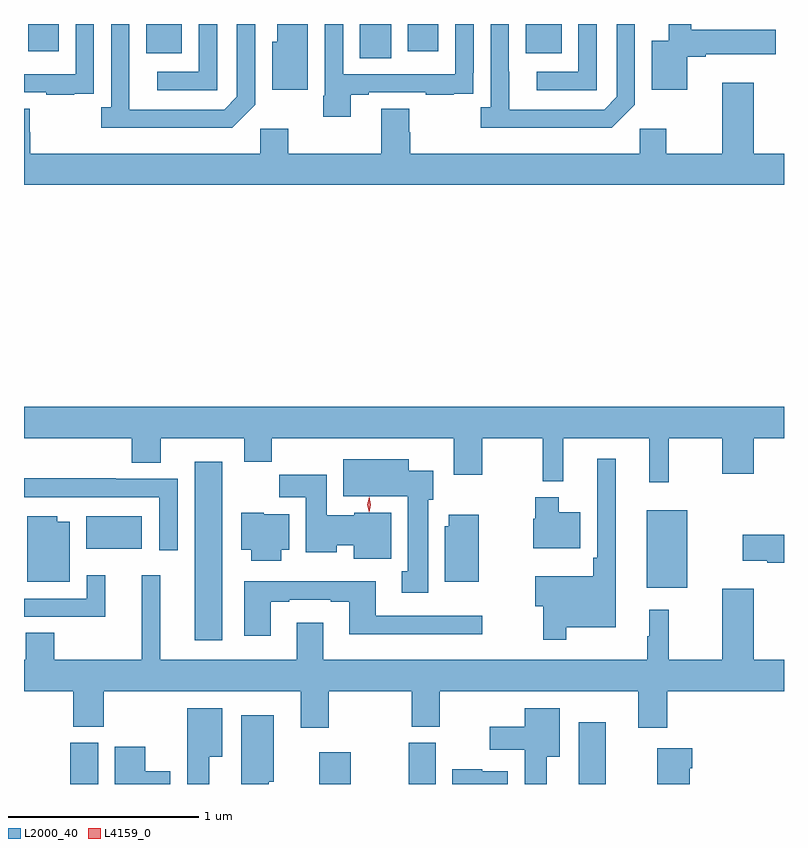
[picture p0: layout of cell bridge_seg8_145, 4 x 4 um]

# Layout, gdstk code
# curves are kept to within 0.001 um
import gdstk
lib = gdstk.Library(unit=1e-6, precision=1e-09)
def R(c, l, rs):  # rectangles x0, y0, x1, y1
    for r in rs: c.add(gdstk.rectangle(r[:2], r[2:], *l))
def P(c, l, *ps):  # polygons
    for p in ps: c.add(gdstk.Polygon(p, *l))
L2000_40 = (2000, 40)
L4159_0 = (4159, 0)

bridge_seg8_145 = lib.new_cell('bridge_seg8_145')
R(bridge_seg8_145, L2000_40, [(521.216,1147.979,521.362,1148.196), (522.527,1147.979,522.693,1148.146), (522.996,1147.979,523.138,1148.196), (523.892,1147.979,524.035,1148.305), (521.87,1148.736,522.016,1149.676), (524.249,1149.011,524.464,1149.421), (521.3,1149.218,521.593,1149.388), (522.74,1151.8,522.904,1151.979), (521.615,1151.825,521.803,1151.979), (523.613,1151.825,523.801,1151.979), (520.994,1151.835,521.155,1151.979), (522.992,1151.835,523.153,1151.979)])
P(bridge_seg8_145, L2000_40, [(522.691,1151.607),(522.787,1151.607),(522.787,1151.619),(523.087,1151.619),(523.087,1151.607),(523.235,1151.607),(523.235,1151.613),(523.337,1151.613),(523.337,1151.722),(523.338,1151.722),(523.338,1151.977),(523.242,1151.977),(523.242,1151.715),(522.651,1151.715),(522.651,1151.979),(522.555,1151.979),(522.555,1151.602),(522.547,1151.602),(522.547,1151.49),(522.691,1151.49)],
  [(522.189,1151.553),(522.189,1151.979),(522.093,1151.979),(522.093,1151.595),(522.027,1151.529),(521.527,1151.529),(521.526,1151.979),(521.43,1151.979),(521.43,1151.542),(521.379,1151.542),(521.379,1151.432),(522.068,1151.432)],
  [(522.466,1151.979),(522.305,1151.979),(522.305,1151.886),(522.278,1151.886),(522.278,1151.633),(522.466,1151.633)],
  [(523.986,1151.979),(523.89,1151.979),(523.89,1151.727),(523.671,1151.727),(523.671,1151.631),(523.986,1151.631)],
  [(521.988,1151.979),(521.892,1151.979),(521.892,1151.727),(521.673,1151.727),(521.673,1151.631),(521.988,1151.631)],
  [(524.187,1151.553),(524.187,1151.979),(524.091,1151.979),(524.091,1151.595),(524.025,1151.529),(523.525,1151.529),(523.524,1151.979),(523.428,1151.979),(523.428,1151.542),(523.377,1151.542),(523.377,1151.432),(524.066,1151.432)],
  [(524.464,1151.807),(524.56,1151.807),(524.56,1151.819),(524.929,1151.819),(524.929,1151.949),(524.483,1151.949),(524.483,1151.979),(524.366,1151.979),(524.366,1151.89),(524.276,1151.89),(524.276,1151.633),(524.464,1151.633)],
  [(521.237,1151.613),(521.339,1151.613),(521.339,1151.722),(521.34,1151.722),(521.34,1151.977),(521.244,1151.977),(521.244,1151.715),(520.972,1151.715),(520.972,1151.619),(521.089,1151.619),(521.089,1151.607),(521.237,1151.607)],
  [(524.972,1151.296),(524.812,1151.296),(524.812,1151.671),(524.648,1151.671),(524.648,1151.296),(524.353,1151.296),(524.353,1151.428),(524.214,1151.428),(524.214,1151.296),(523.004,1151.296),(523.004,1151.409),(522.999,1151.409),(522.999,1151.534),(522.851,1151.534),(522.851,1151.296),(522.363,1151.296),(522.363,1151.428),(522.216,1151.428),(522.216,1151.296),(521.006,1151.296),(521.006,1151.409),(521.001,1151.409),(521.001,1151.534),(520.972,1151.534),(520.972,1151.132),(524.972,1151.132)],
  [(524.366,1149.8),(524.648,1149.8),(524.648,1149.612),(524.812,1149.612),(524.812,1149.8),(524.972,1149.8),(524.972,1149.964),(520.972,1149.964),(520.972,1149.8),(521.54,1149.8),(521.54,1149.67),(521.692,1149.67),(521.692,1149.8),(522.131,1149.8),(522.131,1149.676),(522.275,1149.676),(522.275,1149.8),(523.235,1149.8),(523.235,1149.606),(523.383,1149.606),(523.383,1149.8),(523.701,1149.8),(523.701,1149.572),(523.811,1149.572),(523.811,1149.8),(524.264,1149.8),(524.264,1149.567),(524.366,1149.567)],
  [(523.825,1148.804),(524.086,1148.804),(524.086,1149.691),(523.989,1149.691),(523.989,1149.169),(523.969,1149.169),(523.969,1149.073),(523.662,1149.073),(523.662,1148.915),(523.704,1148.915),(523.704,1148.739),(523.825,1148.739)],
  [(523.099,1149.474),(523.126,1149.474),(523.126,1149.628),(522.997,1149.628),(522.997,1149.688),(522.653,1149.688),(522.653,1149.494),(522.992,1149.494),(522.992,1149.098),(522.959,1149.098),(522.959,1148.985),(523.099,1148.985)],
  [(522.904,1149.406),(522.711,1149.406),(522.711,1149.394),(522.565,1149.394),(522.565,1149.606),(522.316,1149.606),(522.316,1149.488),(522.455,1149.488),(522.455,1149.2),(522.619,1149.2),(522.619,1149.236),(522.707,1149.236),(522.707,1149.164),(522.904,1149.164)],
  [(521.781,1149.585),(521.456,1149.585),(521.456,1149.587),(520.972,1149.587),(520.972,1149.489),(521.685,1149.489),(521.685,1149.21),(521.781,1149.21)],
  [(523.9,1149.409),(523.786,1149.409),(523.786,1149.487),(523.664,1149.487),(523.664,1149.375),(523.652,1149.375),(523.652,1149.221),(523.9,1149.221)],
  [(522.325,1149.212),(522.367,1149.212),(522.367,1149.4),(522.234,1149.4),(522.234,1149.406),(522.116,1149.406),(522.116,1149.212),(522.167,1149.212),(522.167,1149.155),(522.325,1149.155)],
  [(523.366,1149.397),(523.208,1149.397),(523.208,1149.336),(523.187,1149.336),(523.187,1149.044),(523.366,1149.044)],
  [(521.212,1149.358),(521.146,1149.358),(521.146,1149.388),(520.988,1149.388),(520.988,1149.044),(521.212,1149.044)],
  [(524.972,1149.29),(524.754,1149.29),(524.754,1149.155),(524.883,1149.155),(524.883,1149.143),(524.972,1149.143)],
  [(522.576,1148.468),(523.012,1148.468),(523.012,1148.281),(523.159,1148.281),(523.159,1148.468),(524.204,1148.468),(524.204,1148.274),(524.357,1148.274),(524.357,1148.468),(524.972,1148.468),(524.972,1148.632),(524.812,1148.632),(524.812,1149.007),(524.648,1149.007),(524.648,1148.632),(524.366,1148.632),(524.366,1148.896),(524.264,1148.896),(524.264,1148.756),(524.253,1148.756),(524.253,1148.632),(522.547,1148.632),(522.547,1148.827),(522.407,1148.827),(522.407,1148.632),(521.69,1148.632),(521.69,1149.079),(521.591,1149.079),(521.591,1148.632),(521.13,1148.632),(521.13,1148.774),(520.982,1148.774),(520.982,1148.632),(520.972,1148.632),(520.972,1148.468),(521.231,1148.468),(521.231,1148.281),(521.391,1148.281),(521.391,1148.468),(522.428,1148.468),(522.428,1148.274),(522.576,1148.274)],
  [(521.399,1149.079),(521.301,1149.079),(521.301,1148.955),(520.972,1148.955),(520.972,1148.859),(521.399,1148.859)],
  [(522.271,1148.937),(522.367,1148.937),(522.367,1148.949),(522.587,1148.949),(522.587,1148.937),(522.683,1148.937),(522.683,1148.768),(523.384,1148.768),(523.384,1148.865),(522.823,1148.865),(522.823,1149.046),(522.131,1149.046),(522.131,1148.76),(522.271,1148.76)],
  [(523.723,1148.123),(523.792,1148.123),(523.792,1148.377),(523.607,1148.377),(523.607,1148.281),(523.422,1148.281),(523.422,1148.159),(523.607,1148.159),(523.607,1147.979),(523.723,1147.979)],
  [(521.947,1148.123),(522.016,1148.123),(522.016,1148.377),(521.831,1148.377),(521.831,1147.979),(521.947,1147.979)],
  [(522.259,1147.992),(522.286,1147.992),(522.286,1148.341),(522.116,1148.341),(522.116,1147.979),(522.259,1147.979)],
  [(521.743,1148.047),(521.611,1148.047),(521.611,1148.176),(521.45,1148.176),(521.45,1147.979),(521.743,1147.979)],
  [(524.476,1148.063),(524.489,1148.063),(524.489,1148.167),(524.306,1148.167),(524.306,1147.979),(524.476,1147.979)],
  [(523.519,1148.047),(523.383,1148.047),(523.383,1148.056),(523.226,1148.056),(523.226,1147.979),(523.519,1147.979)])
P(bridge_seg8_145, L4159_0, [(522.788,1149.41),(522.788,1149.41),(522.778,1149.45),(522.788,1149.49),(522.788,1149.49),(522.788,1149.49),(522.798,1149.45),(522.788,1149.41)])

lib.write_gds('bridge_seg8_145.gds')
